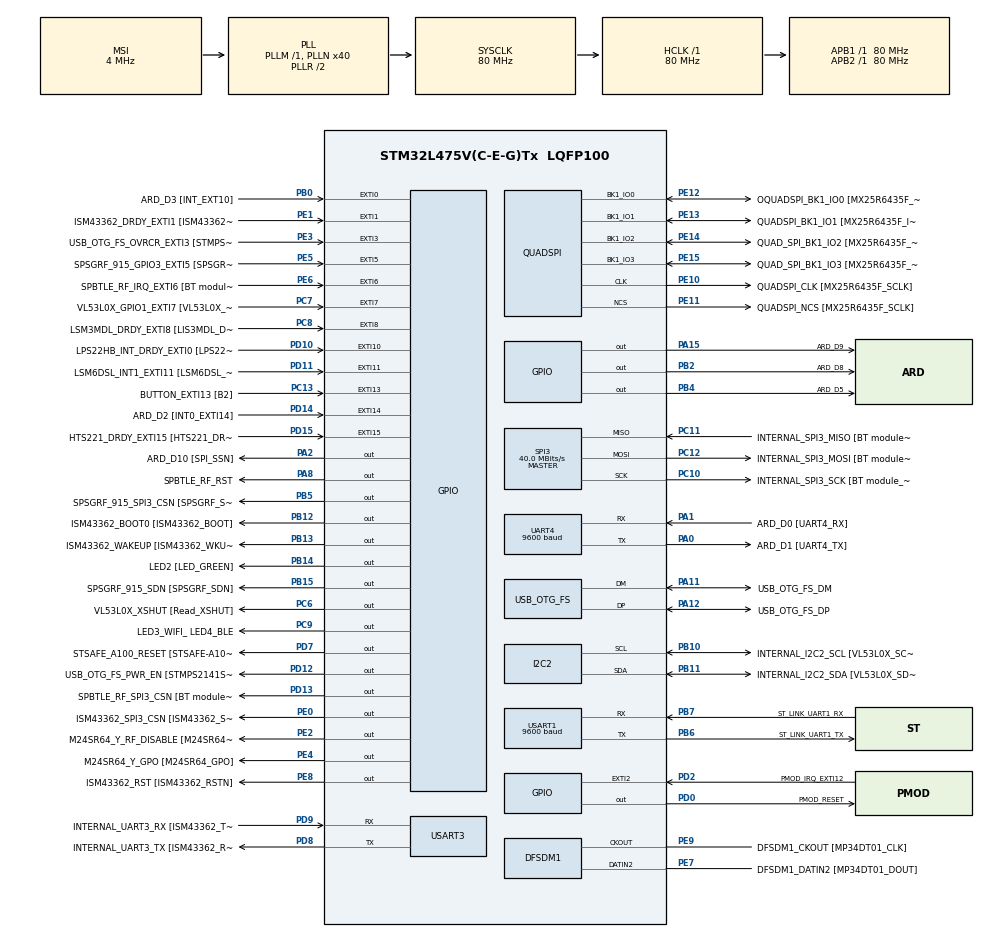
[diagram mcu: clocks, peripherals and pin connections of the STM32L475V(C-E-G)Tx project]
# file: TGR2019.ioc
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Mcu.Family=STM32L4
Mcu.Name=STM32L475V(C-E-G)Tx
Mcu.Package=LQFP100
NVIC.EXTI15_10_IRQn=true\:0\:0\:false\:false\:true\:true
NVIC.EXTI9_5_IRQn=true\:0\:0\:false\:false\:true\:true
NVIC.PriorityGroup=NVIC_PRIORITYGROUP_4
NVIC.TIM6_DAC_IRQn=true\:1\:0\:true\:false\:true\:true
NVIC.USART1_IRQn=true\:2\:0\:true\:false\:true\:true
PA0.GPIO_Label=ARD_D1 [UART4_TX]
PA0.Mode=Asynchronous
PA0.Signal=UART4_TX
PA1.GPIO_Label=ARD_D0 [UART4_RX]
PA1.Mode=Asynchronous
PA1.Signal=UART4_RX
PA10.GPIO_Label=USB_OTG_FS_ID
PA10.Signal=USB_OTG_FS_ID
PA11.GPIO_Label=USB_OTG_FS_DM
PA11.Mode=Device_Only
PA11.Signal=USB_OTG_FS_DM
PA12.GPIO_Label=USB_OTG_FS_DP
PA12.Mode=Device_Only
PA12.Signal=USB_OTG_FS_DP
PA13\ (JTMS-SWDIO).GPIO_Label=SYS_JTMS_SWDIO
PA13\ (JTMS-SWDIO).Mode=Serial_Wire
PA13\ (JTMS-SWDIO).Signal=SYS_JTMS-SWDIO
PA14\ (JTCK-SWCLK).GPIO_Label=SYS_JTCK_SWCLK
PA14\ (JTCK-SWCLK).Mode=Serial_Wire
PA14\ (JTCK-SWCLK).Signal=SYS_JTCK-SWCLK
PA15\ (JTDI).GPIO_Label=ARD_D9
PA15\ (JTDI).Signal=GPIO_Output
PA2.GPIO_Label=ARD_D10 [SPI_SSN]
PA2.Signal=GPIO_Output
PA3.GPIO_Label=ARD_D4
PA3.Signal=S_TIM2_CH4
PA4.GPIO_Label=ARD_D7
PA4.Signal=ADCx_IN9
PA5.GPIO_Label=ARD_D13 [SPI1_SCK]
PA5.Signal=SPI1_SCK
PA6.GPIO_Label=ARD_D12 [SPI1_MISO]
PA6.Signal=SPI1_MISO
PA7.GPIO_Label=ARD_D11 [SPI1_MOSI]
PA7.Signal=SPI1_MOSI
PA8.GPIO_Label=SPBTLE_RF_RST
PA8.Signal=GPIO_Output
PA9.GPIO_Label=USB_OTG_FS_VBUS [STMPS2141STR_OUT]
PA9.Signal=USB_OTG_FS_VBUS
PB0.GPIO_Label=ARD_D3 [INT_EXT10]
PB0.Signal=GPXTI0
PB1.GPIO_Label=ARD_D6 [ADC1_IN6]
PB1.Signal=ADCx_IN16
PB10.GPIO_Label=INTERNAL_I2C2_SCL [VL53L0X_SCL]
PB10.Mode=I2C
PB10.Signal=I2C2_SCL
PB11.GPIO_Label=INTERNAL_I2C2_SDA [VL53L0X_SDA]
PB11.Mode=I2C
PB11.Signal=I2C2_SDA
PB12.GPIO_Label=ISM43362_BOOT0 [ISM43362_BOOT]
PB12.Signal=GPIO_Output
PB13.GPIO_Label=ISM43362_WAKEUP [ISM43362_WKUP]
PB13.Signal=GPIO_Output
PB14.GPIO_Label=LED2 [LED_GREEN]
PB14.Signal=GPIO_Output
PB15.GPIO_Label=SPSGRF_915_SDN [SPSGRF_SDN]
PB15.Signal=GPIO_Output
PB2.GPIO_Label=ARD_D8
PB2.Signal=GPIO_Output
PB3\ (JTDO-TRACESWO).GPIO_Label=SYS_JTD0_SWO
PB3\ (JTDO-TRACESWO).Signal=SYS_JTDO-SWO
PB4\ (NJTRST).GPIO_Label=ARD_D5
PB4\ (NJTRST).Signal=GPIO_Output
PB5.GPIO_Label=SPSGRF_915_SPI3_CSN [SPSGRF_SPI_CS]
PB5.Signal=GPIO_Output
PB6.GPIO_Label=ST_LINK_UART1_TX
PB6.Mode=Asynchronous
PB6.Signal=USART1_TX
PB7.GPIO_Label=ST_LINK_UART1_RX
PB7.Mode=Asynchronous
PB7.Signal=USART1_RX
PB8.GPIO_Label=ARD_D15 [I2C1_SCL]
PB8.Signal=I2C1_SCL
PB9.GPIO_Label=ARD_D14 [I2C1_SDA]
PB9.Signal=I2C1_SDA
PC0.GPIO_Label=ARD_A5 [ADC]
PC0.Signal=ADCx_IN1
PC1.GPIO_Label=ARD_A4 [ADC]
PC1.Signal=ADCx_IN2
PC10.GPIO_Label=INTERNAL_SPI3_SCK [BT module_SPI_SCLK]
PC10.Mode=Full_Duplex_Master
PC10.Signal=SPI3_SCK
PC11.GPIO_Label=INTERNAL_SPI3_MISO [BT module_SPI_MISO]
PC11.Mode=Full_Duplex_Master
PC11.Signal=SPI3_MISO
PC12.GPIO_Label=INTERNAL_SPI3_MOSI [BT module_SPI_MOSI]
PC12.Mode=Full_Duplex_Master
PC12.Signal=SPI3_MOSI
PC13.GPIO_Label=BUTTON_EXTI13 [B2]
PC13.GPIO_ModeDefaultEXTI=GPIO_MODE_IT_FALLING
PC13.Signal=GPXTI13
PC14-OSC32_IN\ (PC14).Mode=LSE-External-Oscillator
PC14-OSC32_IN\ (PC14).Signal=RCC_OSC32_IN
PC15-OSC32_OUT\ (PC15).Mode=LSE-External-Oscillator
PC15-OSC32_OUT\ (PC15).Signal=RCC_OSC32_OUT
PC2.GPIO_Label=ARD_A3 [ADC]
PC2.Signal=ADCx_IN3
PC3.GPIO_Label=ARD_A2 [ADC]
PC3.Signal=ADCx_IN4
PC4.GPIO_Label=ARD_A1 [ADC]
PC4.Signal=ADCx_IN13
PC5.GPIO_Label=ARD_A0 [ADC]
PC5.Signal=ADCx_IN14
PC6.GPIO_Label=VL53L0X_XSHUT [Read_XSHUT]
PC6.Signal=GPIO_Output
PC7.GPIO_Label=VL53L0X_GPIO1_EXTI7 [VL53L0X_GPIO1]
PC7.Signal=GPXTI7
PC8.GPIO_Label=LSM3MDL_DRDY_EXTI8 [LIS3MDL_DRDY]
PC8.Signal=GPXTI8
PC9.GPIO_Label=LED3_WIFI_ LED4_BLE
PC9.Signal=GPIO_Output
PD0.GPIO_Label=PMOD_RESET
PD0.Signal=GPIO_Output
PD1.GPIO_Label=PMOD_SPI2_SCK
PD1.Signal=SPI2_SCK
PD10.GPIO_Label=LPS22HB_INT_DRDY_EXTI0 [LPS22HB_INT_DRDY] 
PD10.Signal=GPXTI10
PD11.GPIO_Label=LSM6DSL_INT1_EXTI11 [LSM6DSL_INT1]
PD11.Signal=GPXTI11
PD12.GPIO_Label=USB_OTG_FS_PWR_EN [STMPS2141STR_EN]
PD12.Signal=GPIO_Output
PD13.GPIO_Label=SPBTLE_RF_SPI3_CSN [BT module_SPI_CS]
PD13.Signal=GPIO_Output
PD14.GPIO_Label=ARD_D2 [INT0_EXTI14]
PD14.Signal=GPXTI14
PD15.GPIO_Label=HTS221_DRDY_EXTI15 [HTS221_DRDY]
PD15.Signal=GPXTI15
PD2.GPIO_Label=PMOD_IRQ_EXTI12
PD2.Signal=GPXTI2
PD3.GPIO_Label=PMOD_UART2_CTS
PD3.Signal=USART2_CTS
PD4.GPIO_Label=PMOD_UART2_RTS
PD4.Signal=USART2_RTS
PD5.GPIO_Label=PMOD_UART2_TX
PD5.Signal=USART2_TX
PD6.GPIO_Label=PMOD_UART2_RX
PD6.Signal=USART2_RX
PD7.GPIO_Label=STSAFE_A100_RESET [STSAFE-A100_RESET]
PD7.Signal=GPIO_Output
PD8.GPIO_Label=INTERNAL_UART3_TX [ISM43362_RX]
PD8.Mode=Asynchronous
PD8.Signal=USART3_TX
PD9.GPIO_Label=INTERNAL_UART3_RX [ISM43362_TX]
PD9.Mode=Asynchronous
PD9.Signal=USART3_RX
PE0.GPIO_Label=ISM43362_SPI3_CSN [ISM43362_SSN]
PE0.Signal=GPIO_Output
PE1.GPIO_Label=ISM43362_DRDY_EXTI1 [ISM43362_DATARDY]
PE1.Signal=GPXTI1
PE10.GPIO_Label=QUADSPI_CLK [MX25R6435F_SCLK]
PE10.Mode=Single Bank
PE10.Signal=QUADSPI_CLK
PE11.GPIO_Label=QUADSPI_NCS [MX25R6435F_SCLK]
PE11.Mode=Single Bank
PE11.Signal=QUADSPI_NCS
PE12.GPIO_Label=OQUADSPI_BK1_IO0 [MX25R6435F_IO0]
PE12.Mode=Single Bank
PE12.Signal=QUADSPI_BK1_IO0
PE13.GPIO_Label=QUADSPI_BK1_IO1 [MX25R6435F_IO1]
PE13.Mode=Single Bank
PE13.Signal=QUADSPI_BK1_IO1
PE14.GPIO_Label=QUAD_SPI_BK1_IO2 [MX25R6435F_IO2]
PE14.Mode=Single Bank
PE14.Signal=QUADSPI_BK1_IO2
PE15.GPIO_Label=QUAD_SPI_BK1_IO3 [MX25R6435F_IO3]
PE15.Mode=Single Bank
PE15.Signal=QUADSPI_BK1_IO3
PE2.GPIO_Label=M24SR64_Y_RF_DISABLE [M24SR64_RFDIS]
PE2.Signal=GPIO_Output
PE3.GPIO_Label=USB_OTG_FS_OVRCR_EXTI3 [STMPS2141STR_FAULT]
PE3.Signal=GPXTI3
PE4.GPIO_Label=M24SR64_Y_GPO [M24SR64_GPO]
PE4.Signal=GPIO_Output
PE5.GPIO_Label=SPSGRF_915_GPIO3_EXTI5 [SPSGRF_GPIO_3]
PE5.Signal=GPXTI5
PE6.GPIO_Label=SPBTLE_RF_IRQ_EXTI6 [BT module_SPI_IRQ]
PE6.Signal=GPXTI6
PE7.GPIO_Label=DFSDM1_DATIN2 [MP34DT01_DOUT]
PE7.Signal=S_DATAIN2DFSDM1
PE8.GPIO_Label=ISM43362_RST [ISM43362_RSTN]
PE8.Signal=GPIO_Output
PE9.GPIO_Label=DFSDM1_CKOUT [MP34DT01_CLK]
PE9.Signal=S_CKOUTDFSDM1
ProjectManager.HeapSize=0x200
ProjectManager.StackSize=0x400
ProjectManager.TargetToolchain=TrueSTUDIO
RCC.ADCFreq_Value=48000000
RCC.AHBFreq_Value=80000000
RCC.APB1Freq_Value=80000000
RCC.APB1TimFreq_Value=80000000
RCC.APB2Freq_Value=80000000
RCC.APB2TimFreq_Value=80000000
RCC.CortexFreq_Value=80000000
RCC.HCLKFreq_Value=80000000
RCC.HSE_VALUE=8000000
RCC.HSI_VALUE=16000000
RCC.MSI_VALUE=4000000
RCC.PLLN=40
RCC.PLLSAI1N=24
RCC.SYSCLKFreq_VALUE=80000000
RCC.SYSCLKSource=RCC_SYSCLKSOURCE_PLLCLK
RCC.USBFreq_Value=48000000
RCC.VCOOutputFreq_Value=160000000
SH.ADCx_IN1.0=ADC1_IN1
SH.ADCx_IN13.0=ADC1_IN13
SH.ADCx_IN14.0=ADC1_IN14
SH.ADCx_IN16.0=ADC1_IN16
SH.ADCx_IN2.0=ADC1_IN2
SH.ADCx_IN3.0=ADC1_IN3
SH.ADCx_IN4.0=ADC1_IN4
SH.ADCx_IN9.0=ADC1_IN9
SH.S_CKOUTDFSDM1.0=DFSDM1_CKOUT,CKOUT
SH.S_CKOUTDFSDM1.1=DFSDM1_CKOUT,PDM_SPI_Input_from_ch12_and_Internal_Clock
SH.S_DATAIN2DFSDM1.0=DFSDM1_DATIN2,PDM_SPI_Input_from_ch12_and_Internal_Clock
SH.S_TIM2_CH4.0=TIM2_CH4
SPI3.CalculateBaudRate=40.0 MBits/s
SPI3.Direction=SPI_DIRECTION_2LINES
SPI3.Mode=SPI_MODE_MASTER
SPI3.VirtualType=VM_MASTER
TIM6.Period=40000
TIM6.Prescaler=999
UART4.BaudRate=9600
USART1.BaudRate=9600
USART1.VirtualMode-Asynchronous=VM_ASYNC
USART3.VirtualMode-Asynchronous=VM_ASYNC
USB_OTG_FS.VirtualMode=Device_Only
VP_TIM6_VS_ClockSourceINT.Mode=Enable_Timer
board=B-L475E-IOT01A

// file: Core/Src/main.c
/* USER CODE BEGIN Header */
/**
  ******************************************************************************
  * @file           : main.c
  * @brief          : Main program body
  ******************************************************************************
  ** This notice applies to any and all portions of this file
  * that are not between comment pairs USER CODE BEGIN and
  * USER CODE END. Other portions of this file, whether
  * inserted by the user or by software development tools
  * are owned by their respective copyright owners.
  *
  * COPYRIGHT(c) 2019 STMicroelectronics
  *
  * Redistribution and use in source and binary forms, with or without modification,
  * are permitted provided that the following conditions are met:
  *   1. Redistributions of source code must retain the above copyright notice,
  *      this list of conditions and the following disclaimer.
  *   2. Redistributions in binary form must reproduce the above copyright notice,
  *      this list of conditions and the following disclaimer in the documentation
  *      and/or other materials provided with the distribution.
  *   3. Neither the name of STMicroelectronics nor the names of its contributors
  *      may be used to endorse or promote products derived from this software
  *      without specific prior written permission.
  *
  * THIS SOFTWARE IS PROVIDED BY THE COPYRIGHT HOLDERS AND CONTRIBUTORS "AS IS"
  * AND ANY EXPRESS OR IMPLIED WARRANTIES, INCLUDING, BUT NOT LIMITED TO, THE
  * IMPLIED WARRANTIES OF MERCHANTABILITY AND FITNESS FOR A PARTICULAR PURPOSE ARE
  * DISCLAIMED. IN NO EVENT SHALL THE COPYRIGHT HOLDER OR CONTRIBUTORS BE LIABLE
  * FOR ANY DIRECT, INDIRECT, INCIDENTAL, SPECIAL, EXEMPLARY, OR CONSEQUENTIAL
  * DAMAGES (INCLUDING, BUT NOT LIMITED TO, PROCUREMENT OF SUBSTITUTE GOODS OR
  * SERVICES; LOSS OF USE, DATA, OR PROFITS; OR BUSINESS INTERRUPTION) HOWEVER
  * CAUSED AND ON ANY THEORY OF LIABILITY, WHETHER IN CONTRACT, STRICT LIABILITY,
  * OR TORT (INCLUDING NEGLIGENCE OR OTHERWISE) ARISING IN ANY WAY OUT OF THE USE
  * OF THIS SOFTWARE, EVEN IF ADVISED OF THE POSSIBILITY OF SUCH DAMAGE.
  *
  ******************************************************************************
  */
/* USER CODE END Header */

#include "main.h"

/* USER CODE BEGIN Includes */
#include <stdio.h>
#include <string.h>
#include <Math.h>
#include "stm32l4xx_it.h"
/* USER CODE END Includes */

/* USER CODE BEGIN PTD */

extern UART_HandleTypeDef hDiscoUart;
/* USER CODE END PTD */

/* USER CODE BEGIN PD */
#define PI 3.14
/* USER CODE END PD */

DFSDM_Channel_HandleTypeDef hdfsdm1_channel1;

I2C_HandleTypeDef hi2c2;

QSPI_HandleTypeDef hqspi;

SPI_HandleTypeDef hspi3;

TIM_HandleTypeDef htim6;

UART_HandleTypeDef huart4;
UART_HandleTypeDef huart1;
UART_HandleTypeDef huart3;

PCD_HandleTypeDef hpcd_USB_OTG_FS;

void SystemClock_Config(void);
static void MX_GPIO_Init(void);
static void MX_DFSDM1_Init(void);
static void MX_I2C2_Init(void);
static void MX_QUADSPI_Init(void);
static void MX_SPI3_Init(void);
static void MX_USART1_UART_Init(void);
static void MX_USART3_UART_Init(void);
static void MX_USB_OTG_FS_PCD_Init(void);
static void MX_TIM6_Init(void);
static void MX_UART4_Init(void);

/* USER CODE BEGIN 0 */

float Temperature_Value;
float Humidity_Value;
uint16_t Distance_Value[2] = {1000};

int16_t Temperature_Cayenne;
uint16_t Humidity_Cayenne;

uint8_t Cayenne_Frame[10];
uint8_t trigger_1sec = 0;
uint8_t Door_State[3] = {0}; //NO CHANGE, ENTRY, EXIT
uint8_t isStateUsed = 0;

char str[50];
/* USER CODE END 0 */

int main(void)
{

  /* MCU Configuration--------------------------------------------------------*/

  /* Reset of all peripherals, Initializes the Flash interface and the Systick. */
  HAL_Init();

  /* Configure the system clock */
  SystemClock_Config();

  /* Initialize all configured peripherals */
  MX_GPIO_Init();
  MX_DFSDM1_Init();
  MX_I2C2_Init();
  MX_QUADSPI_Init();
  MX_SPI3_Init();
  MX_USART1_UART_Init();
  MX_USART3_UART_Init();
  MX_USB_OTG_FS_PCD_Init();
  MX_TIM6_Init();
  MX_UART4_Init();
  /* USER CODE BEGIN 2 */
  BSP_PSENSOR_Init();
  BSP_HSENSOR_Init();
  BSP_TSENSOR_Init();
  BSP_ACCELERO_Init();
  BSP_GYRO_Init();
  BSP_MAGNETO_Init();
  VL53L0X_PROXIMITY_Init();

  HAL_TIM_Base_Start_IT(&htim6);
  sprintf(str,"Hello\r\n");
  HAL_UART_Transmit(&huart1,(uint8_t*)str,strlen(str),5000);

  __HAL_UART_ENABLE_IT(&huart1 , UART_IT_RXNE);
  /* USER CODE END 2 */

  /* Infinite loop */
  /* USER CODE BEGIN WHILE */
  while (1)
  {
	  //Assign
	  Temperature_Value = BSP_TSENSOR_ReadTemp();
	  Humidity_Value = BSP_HSENSOR_ReadHumidity();

	  //Assign 2
	  Distance_Value[0] = Distance_Value[1];
	  Distance_Value[1] = VL53L0X_PROXIMITY_GetDistance();

	  if((Distance_Value[1] > 500) && (Distance_Value[1] < 40))
	  {
		  Distance_Value[1] = 500;
	  }

	  //Cond
	  if(abs(Distance_Value[0] - Distance_Value[1]) < 20)
	  {
		  Door_State[0]++;
		  //sprintf(str,"NO CHANGE\r\n");
		  HAL_UART_Transmit(&huart1,(uint8_t*)str,strlen(str),5000);
	  }
	  else if(Distance_Value[0] < Distance_Value[1])
	  {
		  Door_State[1]++;
		  //sprintf(str,"ENTRY\r\n");
		  HAL_UART_Transmit(&huart1,(uint8_t*)str,strlen(str),5000);
	  }
	  else if(Distance_Value[0] > Distance_Value[1])
	  {
		  Door_State[2]++;
		  //sprintf(str,"EXIT\r\n");
		  HAL_UART_Transmit(&huart1,(uint8_t*)str,strlen(str),5000);
	  }
	  else
	  {
		  //sprintf(str,"ERROR\r\n");
		  HAL_UART_Transmit(&huart1,(uint8_t*)str,strlen(str),5000);
	  }

	  //Debug

	  /*
	  sprintf(str,"TEMPERATURE is = %.2f *C\r\n",Temperature_Value);
	  HAL_UART_Transmit(&huart1,(uint8_t*)str,strlen(str),5000);
	  sprintf(str,"HUMIDITY is = %.2f\%\r\n",Humidity_Value);
	  HAL_UART_Transmit(&huart1,(uint8_t*)str,strlen(str),5000);
	  sprintf(str,"HUMIDITY is = %.2f\%\r\n",Humidity_Value);
	  HAL_UART_Transmit(&huart1,(uint8_t*)str,strlen(str),5000);
	  */

	  sprintf(str,".",trigger_1sec);
	  HAL_UART_Transmit(&huart1,(uint8_t*)str,strlen(str),5000);

	  if(trigger_1sec == 1)
	  {
		  //Parse to Cayenne Resolution
		  Temperature_Cayenne = (int16_t)(Temperature_Value*10);
		  Humidity_Cayenne = (uint16_t)(Humidity_Value*2);

		  //Framing Cayenne Payload
		  Cayenne_Frame[0] = (uint8_t)(0x00); //Temp Channel
		  Cayenne_Frame[1] = (uint8_t)(0x67); //Temp Type
		  Cayenne_Frame[2] = (uint8_t)(Temperature_Cayenne >> 8);
		  Cayenne_Frame[3] = (uint8_t)(Temperature_Cayenne);

		  Cayenne_Frame[4] = (uint8_t)(0x01); //Humid Channel
		  Cayenne_Frame[5] = (uint8_t)(0x68); //Humid Type
		  Cayenne_Frame[6] = (uint8_t)(Humidity_Cayenne >> 8);
		  Cayenne_Frame[7] = (uint8_t)(Humidity_Cayenne);

		  if((isStateUsed == 0) & ((Door_State[1] - Door_State[2]) > 2))
		  {
			  Cayenne_Frame[8] = (uint8_t)(0x01); //Entry
			  Cayenne_Frame[9] = (uint8_t)(0x00); //Exit
			  isStateUsed = 1;
		  }
		  else if((isStateUsed == 0) & ((Door_State[2] - Door_State[1]) > 2))
		  {
			  Cayenne_Frame[8] = (uint8_t)(0x00); //Entry
			  Cayenne_Frame[9] = (uint8_t)(0x01); //Exit
			  isStateUsed = 1;
		  }
		  else
		  {
		  	  Cayenne_Frame[8] = (uint8_t)(0x00); //Entry
		  	  Cayenne_Frame[9] = (uint8_t)(0x00); //Exit
		  	  isStateUsed = 0;
		  }

		  //Send to LoRa
	  	  HAL_UART_Transmit(&huart4,(uint8_t*)Cayenne_Frame,8,5000);

	  	  //Debug Door
	  	  /*
	  	  if(Cayenne_Frame[8] == 1)
	  	  {
	  		  sprintf(str,"ENTRY\r\n");
	  		  HAL_UART_Transmit(&huart1,(uint8_t*)str,strlen(str),5000);

	  	  }
	  	  else if(Cayenne_Frame[9] == 1)
	  	  {
	  		  sprintf(str,"EXIT\r\n");
	  		  HAL_UART_Transmit(&huart1,(uint8_t*)str,strlen(str),5000);
	  	  }
	  	  else
	  	  {
	  		  sprintf(str,"NO CHANGE\r\n");
	  		  HAL_UART_Transmit(&huart1,(uint8_t*)str,strlen(str),5000);
	  	  }
	  	  */

	  	  //Debug Cayenne Payload

	  	  sprintf(str,"\r\nCAYENNE PLL is =");
	  	  HAL_UART_Transmit(&huart1,(uint8_t*)str,strlen(str),5000);
	  	  for(int i = 0; i < 10; i++)
	  	  {
	  		  sprintf(str," %x,",Cayenne_Frame[i]);
	  		  HAL_UART_Transmit(&huart1,(uint8_t*)str,strlen(str),5000);
	  	  }
	  	  sprintf(str,"\r\n");
	  	  HAL_UART_Transmit(&huart1,(uint8_t*)str,strlen(str),5000);

	  	//Reset Door State & Trigger

	  	Door_State[0] = 0;
		Door_State[1] = 0;
		Door_State[2] = 0;

		trigger_1sec = 0;
	  }

    /* USER CODE END WHILE */
  }
}

void SystemClock_Config(void)
{
  RCC_OscInitTypeDef RCC_OscInitStruct = {0};
  RCC_ClkInitTypeDef RCC_ClkInitStruct = {0};
  RCC_PeriphCLKInitTypeDef PeriphClkInit = {0};

  /**Configure LSE Drive Capability
  */
  HAL_PWR_EnableBkUpAccess();
  __HAL_RCC_LSEDRIVE_CONFIG(RCC_LSEDRIVE_LOW);
  /**Initializes the CPU, AHB and APB busses clocks
  */
  RCC_OscInitStruct.OscillatorType = RCC_OSCILLATORTYPE_LSE|RCC_OSCILLATORTYPE_MSI;
  RCC_OscInitStruct.LSEState = RCC_LSE_ON;
  RCC_OscInitStruct.MSIState = RCC_MSI_ON;
  RCC_OscInitStruct.MSICalibrationValue = 0;
  RCC_OscInitStruct.MSIClockRange = RCC_MSIRANGE_6;
  RCC_OscInitStruct.PLL.PLLState = RCC_PLL_ON;
  RCC_OscInitStruct.PLL.PLLSource = RCC_PLLSOURCE_MSI;
  RCC_OscInitStruct.PLL.PLLM = 1;
  RCC_OscInitStruct.PLL.PLLN = 40;
  RCC_OscInitStruct.PLL.PLLP = RCC_PLLP_DIV7;
  RCC_OscInitStruct.PLL.PLLQ = RCC_PLLQ_DIV2;
  RCC_OscInitStruct.PLL.PLLR = RCC_PLLR_DIV2;
  if (HAL_RCC_OscConfig(&RCC_OscInitStruct) != HAL_OK)
  {
    Error_Handler();
  }
  /**Initializes the CPU, AHB and APB busses clocks
  */
  RCC_ClkInitStruct.ClockType = RCC_CLOCKTYPE_HCLK|RCC_CLOCKTYPE_SYSCLK
                              |RCC_CLOCKTYPE_PCLK1|RCC_CLOCKTYPE_PCLK2;
  RCC_ClkInitStruct.SYSCLKSource = RCC_SYSCLKSOURCE_PLLCLK;
  RCC_ClkInitStruct.AHBCLKDivider = RCC_SYSCLK_DIV1;
  RCC_ClkInitStruct.APB1CLKDivider = RCC_HCLK_DIV1;
  RCC_ClkInitStruct.APB2CLKDivider = RCC_HCLK_DIV1;

  if (HAL_RCC_ClockConfig(&RCC_ClkInitStruct, FLASH_LATENCY_4) != HAL_OK)
  {
    Error_Handler();
  }
  PeriphClkInit.PeriphClockSelection = RCC_PERIPHCLK_USART1|RCC_PERIPHCLK_USART3
                              |RCC_PERIPHCLK_UART4|RCC_PERIPHCLK_I2C2
                              |RCC_PERIPHCLK_DFSDM1|RCC_PERIPHCLK_USB;
  PeriphClkInit.Usart1ClockSelection = RCC_USART1CLKSOURCE_PCLK2;
  PeriphClkInit.Usart3ClockSelection = RCC_USART3CLKSOURCE_PCLK1;
  PeriphClkInit.Uart4ClockSelection = RCC_UART4CLKSOURCE_PCLK1;
  PeriphClkInit.I2c2ClockSelection = RCC_I2C2CLKSOURCE_PCLK1;
  PeriphClkInit.Dfsdm1ClockSelection = RCC_DFSDM1CLKSOURCE_PCLK;
  PeriphClkInit.UsbClockSelection = RCC_USBCLKSOURCE_PLLSAI1;
  PeriphClkInit.PLLSAI1.PLLSAI1Source = RCC_PLLSOURCE_MSI;
  PeriphClkInit.PLLSAI1.PLLSAI1M = 1;
  PeriphClkInit.PLLSAI1.PLLSAI1N = 24;
  PeriphClkInit.PLLSAI1.PLLSAI1P = RCC_PLLP_DIV7;
  PeriphClkInit.PLLSAI1.PLLSAI1Q = RCC_PLLQ_DIV2;
  PeriphClkInit.PLLSAI1.PLLSAI1R = RCC_PLLR_DIV2;
  PeriphClkInit.PLLSAI1.PLLSAI1ClockOut = RCC_PLLSAI1_48M2CLK;
  if (HAL_RCCEx_PeriphCLKConfig(&PeriphClkInit) != HAL_OK)
  {
    Error_Handler();
  }
  /**Configure the main internal regulator output voltage
  */
  if (HAL_PWREx_ControlVoltageScaling(PWR_REGULATOR_VOLTAGE_SCALE1) != HAL_OK)
  {
    Error_Handler();
  }
  /**Enable MSI Auto calibration
  */
  HAL_RCCEx_EnableMSIPLLMode();
}

static void MX_DFSDM1_Init(void)
{

  hdfsdm1_channel1.Instance = DFSDM1_Channel1;
  hdfsdm1_channel1.Init.OutputClock.Activation = ENABLE;
  hdfsdm1_channel1.Init.OutputClock.Selection = DFSDM_CHANNEL_OUTPUT_CLOCK_SYSTEM;
  hdfsdm1_channel1.Init.OutputClock.Divider = 2;
  hdfsdm1_channel1.Init.Input.Multiplexer = DFSDM_CHANNEL_EXTERNAL_INPUTS;
  hdfsdm1_channel1.Init.Input.DataPacking = DFSDM_CHANNEL_STANDARD_MODE;
  hdfsdm1_channel1.Init.Input.Pins = DFSDM_CHANNEL_FOLLOWING_CHANNEL_PINS;
  hdfsdm1_channel1.Init.SerialInterface.Type = DFSDM_CHANNEL_SPI_RISING;
  hdfsdm1_channel1.Init.SerialInterface.SpiClock = DFSDM_CHANNEL_SPI_CLOCK_INTERNAL;
  hdfsdm1_channel1.Init.Awd.FilterOrder = DFSDM_CHANNEL_FASTSINC_ORDER;
  hdfsdm1_channel1.Init.Awd.Oversampling = 1;
  hdfsdm1_channel1.Init.Offset = 0;
  hdfsdm1_channel1.Init.RightBitShift = 0x00;
  if (HAL_DFSDM_ChannelInit(&hdfsdm1_channel1) != HAL_OK)
  {
    Error_Handler();
  }

}

static void MX_I2C2_Init(void)
{

  hi2c2.Instance = I2C2;
  hi2c2.Init.Timing = 0x10909CEC;
  hi2c2.Init.OwnAddress1 = 0;
  hi2c2.Init.AddressingMode = I2C_ADDRESSINGMODE_7BIT;
  hi2c2.Init.DualAddressMode = I2C_DUALADDRESS_DISABLE;
  hi2c2.Init.OwnAddress2 = 0;
  hi2c2.Init.OwnAddress2Masks = I2C_OA2_NOMASK;
  hi2c2.Init.GeneralCallMode = I2C_GENERALCALL_DISABLE;
  hi2c2.Init.NoStretchMode = I2C_NOSTRETCH_DISABLE;
  if (HAL_I2C_Init(&hi2c2) != HAL_OK)
  {
    Error_Handler();
  }
  /**Configure Analogue filter
  */
  if (HAL_I2CEx_ConfigAnalogFilter(&hi2c2, I2C_ANALOGFILTER_ENABLE) != HAL_OK)
  {
    Error_Handler();
  }
  /**Configure Digital filter
  */
  if (HAL_I2CEx_ConfigDigitalFilter(&hi2c2, 0) != HAL_OK)
  {
    Error_Handler();
  }

}

static void MX_QUADSPI_Init(void)
{

  /* QUADSPI parameter configuration*/
  hqspi.Instance = QUADSPI;
  hqspi.Init.ClockPrescaler = 255;
  hqspi.Init.FifoThreshold = 1;
  hqspi.Init.SampleShifting = QSPI_SAMPLE_SHIFTING_NONE;
  hqspi.Init.FlashSize = 1;
  hqspi.Init.ChipSelectHighTime = QSPI_CS_HIGH_TIME_1_CYCLE;
  hqspi.Init.ClockMode = QSPI_CLOCK_MODE_0;
  if (HAL_QSPI_Init(&hqspi) != HAL_OK)
  {
    Error_Handler();
  }

}

static void MX_SPI3_Init(void)
{

  /* SPI3 parameter configuration*/
  hspi3.Instance = SPI3;
  hspi3.Init.Mode = SPI_MODE_MASTER;
  hspi3.Init.Direction = SPI_DIRECTION_2LINES;
  hspi3.Init.DataSize = SPI_DATASIZE_4BIT;
  hspi3.Init.CLKPolarity = SPI_POLARITY_LOW;
  hspi3.Init.CLKPhase = SPI_PHASE_1EDGE;
  hspi3.Init.NSS = SPI_NSS_SOFT;
  hspi3.Init.BaudRatePrescaler = SPI_BAUDRATEPRESCALER_2;
  hspi3.Init.FirstBit = SPI_FIRSTBIT_MSB;
  hspi3.Init.TIMode = SPI_TIMODE_DISABLE;
  hspi3.Init.CRCCalculation = SPI_CRCCALCULATION_DISABLE;
  hspi3.Init.CRCPolynomial = 7;
  hspi3.Init.CRCLength = SPI_CRC_LENGTH_DATASIZE;
  hspi3.Init.NSSPMode = SPI_NSS_PULSE_ENABLE;
  if (HAL_SPI_Init(&hspi3) != HAL_OK)
  {
    Error_Handler();
  }

}

static void MX_TIM6_Init(void)
{

  TIM_MasterConfigTypeDef sMasterConfig = {0};

  htim6.Instance = TIM6;
  htim6.Init.Prescaler = 1999;
  htim6.Init.CounterMode = TIM_COUNTERMODE_UP;
  htim6.Init.Period = 40000;
  htim6.Init.AutoReloadPreload = TIM_AUTORELOAD_PRELOAD_DISABLE;
  if (HAL_TIM_Base_Init(&htim6) != HAL_OK)
  {
    Error_Handler();
  }
  sMasterConfig.MasterOutputTrigger = TIM_TRGO_RESET;
  sMasterConfig.MasterSlaveMode = TIM_MASTERSLAVEMODE_DISABLE;
  if (HAL_TIMEx_MasterConfigSynchronization(&htim6, &sMasterConfig) != HAL_OK)
  {
    Error_Handler();
  }

}

static void MX_UART4_Init(void)
{

  huart4.Instance = UART4;
  huart4.Init.BaudRate = 9600;
  huart4.Init.WordLength = UART_WORDLENGTH_8B;
  huart4.Init.StopBits = UART_STOPBITS_1;
  huart4.Init.Parity = UART_PARITY_NONE;
  huart4.Init.Mode = UART_MODE_TX_RX;
  huart4.Init.HwFlowCtl = UART_HWCONTROL_NONE;
  huart4.Init.OverSampling = UART_OVERSAMPLING_16;
  huart4.Init.OneBitSampling = UART_ONE_BIT_SAMPLE_DISABLE;
  huart4.AdvancedInit.AdvFeatureInit = UART_ADVFEATURE_NO_INIT;
  if (HAL_UART_Init(&huart4) != HAL_OK)
  {
    Error_Handler();
  }

}

static void MX_USART1_UART_Init(void)
{

  huart1.Instance = USART1;
  huart1.Init.BaudRate = 9600;
  huart1.Init.WordLength = UART_WORDLENGTH_8B;
  huart1.Init.StopBits = UART_STOPBITS_1;
  huart1.Init.Parity = UART_PARITY_NONE;
  huart1.Init.Mode = UART_MODE_TX_RX;
  huart1.Init.HwFlowCtl = UART_HWCONTROL_NONE;
  huart1.Init.OverSampling = UART_OVERSAMPLING_16;
  huart1.Init.OneBitSampling = UART_ONE_BIT_SAMPLE_DISABLE;
  huart1.AdvancedInit.AdvFeatureInit = UART_ADVFEATURE_NO_INIT;
  if (HAL_UART_Init(&huart1) != HAL_OK)
  {
    Error_Handler();
  }

}

static void MX_USART3_UART_Init(void)
{

  huart3.Instance = USART3;
  huart3.Init.BaudRate = 115200;
  huart3.Init.WordLength = UART_WORDLENGTH_8B;
  huart3.Init.StopBits = UART_STOPBITS_1;
  huart3.Init.Parity = UART_PARITY_NONE;
  huart3.Init.Mode = UART_MODE_TX_RX;
  huart3.Init.HwFlowCtl = UART_HWCONTROL_NONE;
  huart3.Init.OverSampling = UART_OVERSAMPLING_16;
  huart3.Init.OneBitSampling = UART_ONE_BIT_SAMPLE_DISABLE;
  huart3.AdvancedInit.AdvFeatureInit = UART_ADVFEATURE_NO_INIT;
  if (HAL_UART_Init(&huart3) != HAL_OK)
  {
    Error_Handler();
  }

}

static void MX_USB_OTG_FS_PCD_Init(void)
{

  hpcd_USB_OTG_FS.Instance = USB_OTG_FS;
  hpcd_USB_OTG_FS.Init.dev_endpoints = 6;
  hpcd_USB_OTG_FS.Init.speed = PCD_SPEED_FULL;
  hpcd_USB_OTG_FS.Init.ep0_mps = DEP0CTL_MPS_64;
  hpcd_USB_OTG_FS.Init.phy_itface = PCD_PHY_EMBEDDED;
  hpcd_USB_OTG_FS.Init.Sof_enable = DISABLE;
  hpcd_USB_OTG_FS.Init.low_power_enable = DISABLE;
  hpcd_USB_OTG_FS.Init.lpm_enable = DISABLE;
  hpcd_USB_OTG_FS.Init.battery_charging_enable = DISABLE;
  hpcd_USB_OTG_FS.Init.use_dedicated_ep1 = DISABLE;
  hpcd_USB_OTG_FS.Init.vbus_sensing_enable = DISABLE;
  if (HAL_PCD_Init(&hpcd_USB_OTG_FS) != HAL_OK)
  {
    Error_Handler();
  }

}

static void MX_GPIO_Init(void)
{
  GPIO_InitTypeDef GPIO_InitStruct = {0};

  /* GPIO Ports Clock Enable */
  __HAL_RCC_GPIOE_CLK_ENABLE();
  __HAL_RCC_GPIOC_CLK_ENABLE();
  __HAL_RCC_GPIOA_CLK_ENABLE();
  __HAL_RCC_GPIOB_CLK_ENABLE();
  __HAL_RCC_GPIOD_CLK_ENABLE();

  /*Configure GPIO pin Output Level */
  HAL_GPIO_WritePin(GPIOE, M24SR64_Y_RF_DISABLE_Pin|M24SR64_Y_GPO_Pin|ISM43362_RST_Pin|ISM43362_SPI3_CSN_Pin, GPIO_PIN_RESET);

  /*Configure GPIO pin Output Level */
  HAL_GPIO_WritePin(GPIOA, ARD_D10_Pin|SPBTLE_RF_RST_Pin|ARD_D9_Pin, GPIO_PIN_RESET);

  /*Configure GPIO pin Output Level */
  HAL_GPIO_WritePin(GPIOB, ARD_D8_Pin|ISM43362_BOOT0_Pin|ISM43362_WAKEUP_Pin|LED2_Pin
                          |SPSGRF_915_SDN_Pin|ARD_D5_Pin|SPSGRF_915_SPI3_CSN_Pin, GPIO_PIN_RESET);

  /*Configure GPIO pin Output Level */
  HAL_GPIO_WritePin(GPIOD, USB_OTG_FS_PWR_EN_Pin|SPBTLE_RF_SPI3_CSN_Pin|PMOD_RESET_Pin|STSAFE_A100_RESET_Pin, GPIO_PIN_RESET);

  /*Configure GPIO pin Output Level */
  HAL_GPIO_WritePin(GPIOC, VL53L0X_XSHUT_Pin|LED3_WIFI__LED4_BLE_Pin, GPIO_PIN_RESET);

  /*Configure GPIO pins : M24SR64_Y_RF_DISABLE_Pin M24SR64_Y_GPO_Pin ISM43362_RST_Pin ISM43362_SPI3_CSN_Pin */
  GPIO_InitStruct.Pin = M24SR64_Y_RF_DISABLE_Pin|M24SR64_Y_GPO_Pin|ISM43362_RST_Pin|ISM43362_SPI3_CSN_Pin;
  GPIO_InitStruct.Mode = GPIO_MODE_OUTPUT_PP;
  GPIO_InitStruct.Pull = GPIO_NOPULL;
  GPIO_InitStruct.Speed = GPIO_SPEED_FREQ_LOW;
  HAL_GPIO_Init(GPIOE, &GPIO_InitStruct);

  /*Configure GPIO pins : USB_OTG_FS_OVRCR_EXTI3_Pin SPSGRF_915_GPIO3_EXTI5_Pin SPBTLE_RF_IRQ_EXTI6_Pin ISM43362_DRDY_EXTI1_Pin */
  GPIO_InitStruct.Pin = USB_OTG_FS_OVRCR_EXTI3_Pin|SPSGRF_915_GPIO3_EXTI5_Pin|SPBTLE_RF_IRQ_EXTI6_Pin|ISM43362_DRDY_EXTI1_Pin;
  GPIO_InitStruct.Mode = GPIO_MODE_IT_RISING;
  GPIO_InitStruct.Pull = GPIO_NOPULL;
  HAL_GPIO_Init(GPIOE, &GPIO_InitStruct);

  /*Configure GPIO pin : BUTTON_EXTI13_Pin */
  GPIO_InitStruct.Pin = BUTTON_EXTI13_Pin;
  GPIO_InitStruct.Mode = GPIO_MODE_IT_FALLING;
  GPIO_InitStruct.Pull = GPIO_NOPULL;
  HAL_GPIO_Init(BUTTON_EXTI13_GPIO_Port, &GPIO_InitStruct);

  /*Configure GPIO pins : ARD_A5_Pin ARD_A4_Pin ARD_A3_Pin ARD_A2_Pin
                           ARD_A1_Pin ARD_A0_Pin */
  GPIO_InitStruct.Pin = ARD_A5_Pin|ARD_A4_Pin|ARD_A3_Pin|ARD_A2_Pin
                          |ARD_A1_Pin|ARD_A0_Pin;
  GPIO_InitStruct.Mode = GPIO_MODE_ANALOG_ADC_CONTROL;
  GPIO_InitStruct.Pull = GPIO_NOPULL;
  HAL_GPIO_Init(GPIOC, &GPIO_InitStruct);

  /*Configure GPIO pins : ARD_D10_Pin SPBTLE_RF_RST_Pin ARD_D9_Pin */
  GPIO_InitStruct.Pin = ARD_D10_Pin|SPBTLE_RF_RST_Pin|ARD_D9_Pin;
  GPIO_InitStruct.Mode = GPIO_MODE_OUTPUT_PP;
  GPIO_InitStruct.Pull = GPIO_NOPULL;
  GPIO_InitStruct.Speed = GPIO_SPEED_FREQ_LOW;
  HAL_GPIO_Init(GPIOA, &GPIO_InitStruct);

  /*Configure GPIO pin : ARD_D4_Pin */
  GPIO_InitStruct.Pin = ARD_D4_Pin;
  GPIO_InitStruct.Mode = GPIO_MODE_AF_PP;
  GPIO_InitStruct.Pull = GPIO_NOPULL;
  GPIO_InitStruct.Speed = GPIO_SPEED_FREQ_LOW;
  GPIO_InitStruct.Alternate = GPIO_AF1_TIM2;
  HAL_GPIO_Init(ARD_D4_GPIO_Port, &GPIO_InitStruct);

  /*Configure GPIO pin : ARD_D7_Pin */
  GPIO_InitStruct.Pin = ARD_D7_Pin;
  GPIO_InitStruct.Mode = GPIO_MODE_ANALOG_ADC_CONTROL;
  GPIO_InitStruct.Pull = GPIO_NOPULL;
  HAL_GPIO_Init(ARD_D7_GPIO_Port, &GPIO_InitStruct);

  /*Configure GPIO pins : ARD_D13_Pin ARD_D12_Pin ARD_D11_Pin */
  GPIO_InitStruct.Pin = ARD_D13_Pin|ARD_D12_Pin|ARD_D11_Pin;
  GPIO_InitStruct.Mode = GPIO_MODE_AF_PP;
  GPIO_InitStruct.Pull = GPIO_NOPULL;
  GPIO_InitStruct.Speed = GPIO_SPEED_FREQ_VERY_HIGH;
  GPIO_InitStruct.Alternate = GPIO_AF5_SPI1;
  HAL_GPIO_Init(GPIOA, &GPIO_InitStruct);

  /*Configure GPIO pin : ARD_D3_Pin */
  GPIO_InitStruct.Pin = ARD_D3_Pin;
  GPIO_InitStruct.Mode = GPIO_MODE_IT_RISING;
  GPIO_InitStruct.Pull = GPIO_NOPULL;
  HAL_GPIO_Init(ARD_D3_GPIO_Port, &GPIO_InitStruct);

  /*Configure GPIO pin : ARD_D6_Pin */
  GPIO_InitStruct.Pin = ARD_D6_Pin;
  GPIO_InitStruct.Mode = GPIO_MODE_ANALOG_ADC_CONTROL;
  GPIO_InitStruct.Pull = GPIO_NOPULL;
  HAL_GPIO_Init(ARD_D6_GPIO_Port, &GPIO_InitStruct);

  /*Configure GPIO pins : ARD_D8_Pin ISM43362_BOOT0_Pin ISM43362_WAKEUP_Pin LED2_Pin
                           SPSGRF_915_SDN_Pin ARD_D5_Pin SPSGRF_915_SPI3_CSN_Pin */
  GPIO_InitStruct.Pin = ARD_D8_Pin|ISM43362_BOOT0_Pin|ISM43362_WAKEUP_Pin|LED2_Pin
                          |SPSGRF_915_SDN_Pin|ARD_D5_Pin|SPSGRF_915_SPI3_CSN_Pin;
  GPIO_InitStruct.Mode = GPIO_MODE_OUTPUT_PP;
  GPIO_InitStruct.Pull = GPIO_NOPULL;
  GPIO_InitStruct.Speed = GPIO_SPEED_FREQ_LOW;
  HAL_GPIO_Init(GPIOB, &GPIO_InitStruct);

  /*Configure GPIO pins : LPS22HB_INT_DRDY_EXTI0_Pin LSM6DSL_INT1_EXTI11_Pin ARD_D2_Pin HTS221_DRDY_EXTI15_Pin
                           PMOD_IRQ_EXTI12_Pin */
  GPIO_InitStruct.Pin = LPS22HB_INT_DRDY_EXTI0_Pin|LSM6DSL_INT1_EXTI11_Pin|ARD_D2_Pin|HTS221_DRDY_EXTI15_Pin
                          |PMOD_IRQ_EXTI12_Pin;
  GPIO_InitStruct.Mode = GPIO_MODE_IT_RISING;
  GPIO_InitStruct.Pull = GPIO_NOPULL;
  HAL_GPIO_Init(GPIOD, &GPIO_InitStruct);

  /*Configure GPIO pins : USB_OTG_FS_PWR_EN_Pin SPBTLE_RF_SPI3_CSN_Pin PMOD_RESET_Pin STSAFE_A100_RESET_Pin */
  GPIO_InitStruct.Pin = USB_OTG_FS_PWR_EN_Pin|SPBTLE_RF_SPI3_CSN_Pin|PMOD_RESET_Pin|STSAFE_A100_RESET_Pin;
  GPIO_InitStruct.Mode = GPIO_MODE_OUTPUT_PP;
  GPIO_InitStruct.Pull = GPIO_NOPULL;
  GPIO_InitStruct.Speed = GPIO_SPEED_FREQ_LOW;
  HAL_GPIO_Init(GPIOD, &GPIO_InitStruct);

  /*Configure GPIO pins : VL53L0X_XSHUT_Pin LED3_WIFI__LED4_BLE_Pin */
  GPIO_InitStruct.Pin = VL53L0X_XSHUT_Pin|LED3_WIFI__LED4_BLE_Pin;
  GPIO_InitStruct.Mode = GPIO_MODE_OUTPUT_PP;
  GPIO_InitStruct.Pull = GPIO_NOPULL;
  GPIO_InitStruct.Speed = GPIO_SPEED_FREQ_LOW;
  HAL_GPIO_Init(GPIOC, &GPIO_InitStruct);

  /*Configure GPIO pins : VL53L0X_GPIO1_EXTI7_Pin LSM3MDL_DRDY_EXTI8_Pin */
  GPIO_InitStruct.Pin = VL53L0X_GPIO1_EXTI7_Pin|LSM3MDL_DRDY_EXTI8_Pin;
  GPIO_InitStruct.Mode = GPIO_MODE_IT_RISING;
  GPIO_InitStruct.Pull = GPIO_NOPULL;
  HAL_GPIO_Init(GPIOC, &GPIO_InitStruct);

  /*Configure GPIO pin : PMOD_SPI2_SCK_Pin */
  GPIO_InitStruct.Pin = PMOD_SPI2_SCK_Pin;
  GPIO_InitStruct.Mode = GPIO_MODE_AF_PP;
  GPIO_InitStruct.Pull = GPIO_NOPULL;
  GPIO_InitStruct.Speed = GPIO_SPEED_FREQ_VERY_HIGH;
  GPIO_InitStruct.Alternate = GPIO_AF5_SPI2;
  HAL_GPIO_Init(PMOD_SPI2_SCK_GPIO_Port, &GPIO_InitStruct);

  /*Configure GPIO pins : PMOD_UART2_CTS_Pin PMOD_UART2_RTS_Pin PMOD_UART2_TX_Pin PMOD_UART2_RX_Pin */
  GPIO_InitStruct.Pin = PMOD_UART2_CTS_Pin|PMOD_UART2_RTS_Pin|PMOD_UART2_TX_Pin|PMOD_UART2_RX_Pin;
  GPIO_InitStruct.Mode = GPIO_MODE_AF_PP;
  GPIO_InitStruct.Pull = GPIO_NOPULL;
  GPIO_InitStruct.Speed = GPIO_SPEED_FREQ_VERY_HIGH;
  GPIO_InitStruct.Alternate = GPIO_AF7_USART2;
  HAL_GPIO_Init(GPIOD, &GPIO_InitStruct);

  /*Configure GPIO pins : ARD_D15_Pin ARD_D14_Pin */
  GPIO_InitStruct.Pin = ARD_D15_Pin|ARD_D14_Pin;
  GPIO_InitStruct.Mode = GPIO_MODE_AF_OD;
  GPIO_InitStruct.Pull = GPIO_PULLUP;
  GPIO_InitStruct.Speed = GPIO_SPEED_FREQ_VERY_HIGH;
  GPIO_InitStruct.Alternate = GPIO_AF4_I2C1;
  HAL_GPIO_Init(GPIOB, &GPIO_InitStruct);

  /* EXTI interrupt init*/
  HAL_NVIC_SetPriority(EXTI9_5_IRQn, 0, 0);
  HAL_NVIC_EnableIRQ(EXTI9_5_IRQn);

  HAL_NVIC_SetPriority(EXTI15_10_IRQn, 0, 0);
  HAL_NVIC_EnableIRQ(EXTI15_10_IRQn);

}

/* USER CODE BEGIN 4 */

void HAL_TIM_PeriodElapsedCallback(TIM_HandleTypeDef *htim){
	BSP_LED_Toggle(LED2);
}
/**
  * @brief  Test of VL53L0X proximity sensor.
  */

/**
  * @brief  Gets numeric values from the Hyperterminal.
  * @param  Maximun value allowed (value)
  * @retval The character received
  */
uint32_t Serial_Scanf(uint32_t value)
{
  uint16_t tmp = 0;

  tmp = getchar();

  if (tmp > value)
  {
    printf("\n\r  !!! Please enter valid number between 0 and %lu \n\r", value);
    return 0xFF;
  }
  return tmp;
}

/* USER CODE END 4 */

void Error_Handler(void)
{
}

/************************ (C) COPYRIGHT STMicroelectronics *****END OF FILE****/
